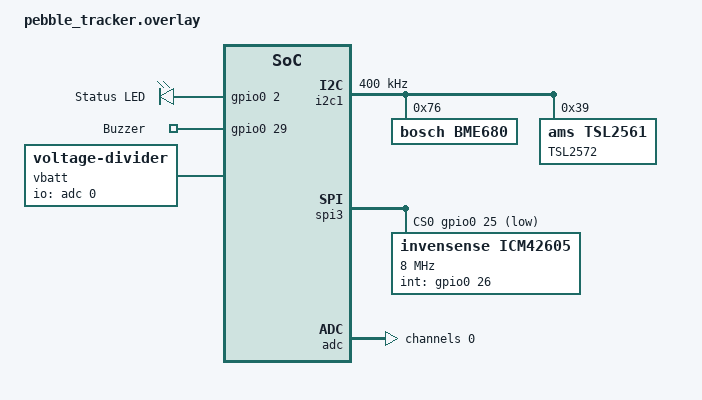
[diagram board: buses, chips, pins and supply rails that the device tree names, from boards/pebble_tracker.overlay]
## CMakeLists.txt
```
# SPDX-License-Identifier: Apache-2.0
#
# VAPI — Verified Autonomous Physical Intelligence
# Zephyr/nRF Connect SDK CMake Build Configuration
#
# Target: IoTeX Pebble Tracker (nRF9160, nRF Connect SDK v2.7+ / v3.x)
#
# Build:
#   west build -b nrf9160dk_nrf9160_ns firmware/
#   (Use Pebble-specific board overlay for production)
#
# Flash:
#   west flash
#   OR: nrfjprog --program build/zephyr/merged.hex --chiperase --verify
#

cmake_minimum_required(VERSION 3.20.0)

# Find Zephyr package (provided by nRF Connect SDK / west workspace)
find_package(Zephyr REQUIRED HINTS $ENV{ZEPHYR_BASE})

project(vapi_agent
    VERSION 0.2.0
    DESCRIPTION "Verified Autonomous Physical Intelligence — Pebble Tracker Agent"
    LANGUAGES C
)

# --------------------------------------------------------------------------
# Source files
# --------------------------------------------------------------------------

target_sources(app PRIVATE
    src/main.c
    src/poac.c
    src/perception.c
    src/agent.c
    src/economic.c
    src/tinyml.c
)

# --------------------------------------------------------------------------
# Include paths
# --------------------------------------------------------------------------

target_include_directories(app PRIVATE
    include
)

# --------------------------------------------------------------------------
# Edge Impulse TinyML integration (optional)
#
# To enable a trained Edge Impulse model:
#   1. Export as "C++ library" from Edge Impulse Studio
#   2. Unzip into models/edge_impulse/ (preserving directory structure)
#   3. Set CONFIG_VAPI_EDGE_IMPULSE=y in prj.conf
#   4. Rebuild: west build -p -- -DDTC_OVERLAY_FILE=...
#
# When disabled (default), the heuristic fallback in tinyml.c provides
# statistical motion classification from raw sensor thresholds.
# --------------------------------------------------------------------------

if(CONFIG_VAPI_EDGE_IMPULSE)
    set(EI_SDK_DIR ${CMAKE_CURRENT_SOURCE_DIR}/../models/edge_impulse)

    # Edge Impulse C++ library requires C++ support
    enable_language(CXX)

    # EI SDK core sources
    file(GLOB_RECURSE EI_SDK_SOURCES
        "${EI_SDK_DIR}/edge-impulse-sdk/classifier/*.cpp"
        "${EI_SDK_DIR}/edge-impulse-sdk/dsp/*.cpp"
        "${EI_SDK_DIR}/edge-impulse-sdk/tensorflow/lite/micro/*.cpp"
        "${EI_SDK_DIR}/edge-impulse-sdk/tensorflow/lite/micro/*.c"
        "${EI_SDK_DIR}/edge-impulse-sdk/tensorflow/lite/micro/kernels/*.cpp"
        "${EI_SDK_DIR}/edge-impulse-sdk/tensorflow/lite/core/*.cpp"
        "${EI_SDK_DIR}/edge-impulse-sdk/CMSIS/DSP/Source/TransformFunctions/*.c"
        "${EI_SDK_DIR}/edge-impulse-sdk/CMSIS/DSP/Source/CommonTables/*.c"
        "${EI_SDK_DIR}/edge-impulse-sdk/CMSIS/DSP/Source/BasicMathFunctions/*.c"
        "${EI_SDK_DIR}/edge-impulse-sdk/CMSIS/DSP/Source/StatisticsFunctions/*.c"
        "${EI_SDK_DIR}/edge-impulse-sdk/CMSIS/NN/Source/*.c"
    )

    # Trained model glue code (generated by EI Studio export)
    file(GLOB EI_MODEL_SOURCES
        "${EI_SDK_DIR}/tflite-model/*.cpp"
    )

    target_sources(app PRIVATE
        ${EI_SDK_SOURCES}
        ${EI_MODEL_SOURCES}
    )

    target_include_directories(app PRIVATE
        ${EI_SDK_DIR}
        ${EI_SDK_DIR}/edge-impulse-sdk
        ${EI_SDK_DIR}/edge-impulse-sdk/classifier
        ${EI_SDK_DIR}/edge-impulse-sdk/dsp
        ${EI_SDK_DIR}/edge-impulse-sdk/third_party
        ${EI_SDK_DIR}/edge-impulse-sdk/tensorflow
        ${EI_SDK_DIR}/edge-impulse-sdk/CMSIS/DSP/Include
        ${EI_SDK_DIR}/edge-impulse-sdk/CMSIS/NN/Include
        ${EI_SDK_DIR}/model-parameters
    )

    # EI SDK requires these defines
    target_compile_definitions(app PRIVATE
        EI_PORTING_ZEPHYR=1
        EI_CLASSIFIER_TFLITE_ENABLE_CMSIS_NN=1
        __ARM_FEATURE_DSP=1
    )

    # Suppress third-party warnings in EI SDK
    set_source_files_properties(${EI_SDK_SOURCES} ${EI_MODEL_SOURCES}
        PROPERTIES COMPILE_FLAGS "-w"
    )
endif()

# --------------------------------------------------------------------------
# Compiler options
# --------------------------------------------------------------------------

# Enable link-time optimization for smaller binary
target_compile_options(app PRIVATE
    -Os                    # Optimize for size
    -Wall                  # All warnings
    -Wextra                # Extra warnings
    -Wno-unused-parameter  # Agent callbacks often have unused params
)

# Float formatting support for LOG_INF with %f
# (Zephyr disables this by default to save space)
zephyr_compile_options(-u _printf_float)
```

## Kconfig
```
# SPDX-License-Identifier: Apache-2.0
#
# VAPI Agent — Custom Kconfig symbols

menu "VAPI Agent Configuration"

config VAPI_LOG_LEVEL
	int "Default VAPI module log level"
	default 4
	range 0 4
	help
	  Log level for VAPI modules (0=off, 1=err, 2=wrn, 3=inf, 4=dbg).

config VAPI_AGENT_LOG_LEVEL
	int "Agent module log level"
	default 3
	range 0 4
	help
	  Log level for the agent module (reflexive/deliberative/strategic threads).

config POAC_LOG_LEVEL
	int "PoAC module log level"
	default 3
	range 0 4
	help
	  Log level for the PoAC module (signing, chaining, NVS).

config VAPI_EDGE_IMPULSE
	bool "Enable Edge Impulse TinyML model"
	default n
	help
	  When enabled, the TinyML inference pipeline uses a trained Edge Impulse
	  model exported as a C++ library. The model files must be placed in
	  models/edge_impulse/ before building.

	  When disabled (default), a heuristic fallback classifier provides
	  statistical motion classification from raw IMU thresholds.

if VAPI_EDGE_IMPULSE
config CPLUSPLUS
	default y

config LIB_CPLUSPLUS
	default y

config NEWLIB_LIBC
	default y
endif # VAPI_EDGE_IMPULSE

endmenu

source "Kconfig.zephyr"
```

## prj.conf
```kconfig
# SPDX-License-Identifier: Apache-2.0
#
# VAPI Agent — Zephyr Project Configuration
# Target: IoTeX Pebble Tracker (nRF9160)
#
# This configures all kernel, driver, crypto, networking, and logging
# subsystems required for the VAPI autonomous agent.

# --------------------------------------------------------------------------
# General
# --------------------------------------------------------------------------
CONFIG_HEAP_MEM_POOL_SIZE=16384
CONFIG_MAIN_STACK_SIZE=4096
CONFIG_SYSTEM_WORKQUEUE_STACK_SIZE=2048
CONFIG_REBOOT=y
CONFIG_HWINFO=y

# --------------------------------------------------------------------------
# Logging
# --------------------------------------------------------------------------
CONFIG_LOG=y
CONFIG_LOG_DEFAULT_LEVEL=3
CONFIG_LOG_BACKEND_UART=y
CONFIG_LOG_BUFFER_SIZE=2048
# Custom log levels for VAPI modules
CONFIG_VAPI_LOG_LEVEL=4
CONFIG_VAPI_AGENT_LOG_LEVEL=3
CONFIG_POAC_LOG_LEVEL=3

# --------------------------------------------------------------------------
# Zephyr Kernel
# --------------------------------------------------------------------------
CONFIG_MULTITHREADING=y
CONFIG_NUM_PREEMPT_PRIORITIES=16
CONFIG_TIMESLICING=y
CONFIG_THREAD_NAME=y
CONFIG_THREAD_MONITOR=y

# --------------------------------------------------------------------------
# Non-Volatile Storage (for PoAC counter + chain state persistence)
# --------------------------------------------------------------------------
CONFIG_NVS=y
CONFIG_FLASH=y
CONFIG_FLASH_MAP=y
CONFIG_FLASH_PAGE_LAYOUT=y
CONFIG_MPU_ALLOW_FLASH_WRITE=y
CONFIG_SETTINGS=y
CONFIG_SETTINGS_NVS=y

# --------------------------------------------------------------------------
# Cryptography — PSA Crypto API backed by CryptoCell-310
# --------------------------------------------------------------------------
CONFIG_NRF_SECURITY=y
CONFIG_MBEDTLS_ENABLE_HEAP=y
CONFIG_MBEDTLS_HEAP_SIZE=8192
CONFIG_PSA_CRYPTO_DRIVER_CC3XX=y

# ECDSA P-256 (for PoAC signing)
CONFIG_PSA_WANT_ALG_ECDSA=y
CONFIG_PSA_WANT_ALG_SHA_256=y
CONFIG_PSA_WANT_KEY_TYPE_ECC_KEY_PAIR_GENERATE=y
CONFIG_PSA_WANT_KEY_TYPE_ECC_KEY_PAIR_IMPORT=y
CONFIG_PSA_WANT_KEY_TYPE_ECC_KEY_PAIR_EXPORT=y
CONFIG_PSA_WANT_KEY_TYPE_ECC_PUBLIC_KEY=y
CONFIG_PSA_WANT_ECC_SECP_R1_256=y

# Persistent key storage
CONFIG_PSA_ITS_ENCRYPTED=y

# --------------------------------------------------------------------------
# Sensors (I2C + SPI)
# --------------------------------------------------------------------------
CONFIG_SENSOR=y
CONFIG_I2C=y
CONFIG_SPI=y

# BME680 — Environmental (temp, humidity, pressure, VOC)
CONFIG_BME680=y

# ICM-42605 — 6-axis IMU (accel + gyro)
CONFIG_ICM42605=y
CONFIG_ICM42605_TRIGGER_NONE=y

# TSL2572 — Ambient light
# Note: Zephyr may require a custom driver or the tsl2561 compatible
CONFIG_TSL2561=y

# --------------------------------------------------------------------------
# GPS — nRF9160 GNSS interface
# --------------------------------------------------------------------------
CONFIG_NRF_MODEM_LIB=y
CONFIG_NRF_MODEM_LIB_ON_FAULT_APPLICATION_SPECIFIC=y
CONFIG_MODEM_INFO=y

# GNSS
CONFIG_NRF_CLOUD_AGNSS=y
CONFIG_NRF_CLOUD_PGPS=y

# --------------------------------------------------------------------------
# Cellular — LTE-M / NB-IoT
# --------------------------------------------------------------------------
CONFIG_LTE_LINK_CONTROL=y
CONFIG_LTE_NETWORK_MODE_LTE_M_GPS=y
CONFIG_LTE_AUTO_INIT_AND_CONNECT=n

# Power Saving Mode (PSM) — essential for battery life
CONFIG_LTE_PSM_REQ=y
CONFIG_LTE_PSM_REQ_RPTAU="00101000"
CONFIG_LTE_PSM_REQ_RAT="00000100"

# eDRX
CONFIG_LTE_EDRX_REQ=y

# --------------------------------------------------------------------------
# Networking (for MQTT/CoAP uplink)
# --------------------------------------------------------------------------
CONFIG_NETWORKING=y
CONFIG_NET_SOCKETS=y
CONFIG_NET_SOCKETS_POSIX_NAMES=y
CONFIG_NET_NATIVE=n

CONFIG_MQTT_LIB=y
CONFIG_MQTT_KEEPALIVE=300

# CoAP (for bounty feed)
CONFIG_COAP=y

# --------------------------------------------------------------------------
# GPIO (LED, Buzzer)
# --------------------------------------------------------------------------
CONFIG_GPIO=y

# --------------------------------------------------------------------------
# ADC (Battery voltage measurement)
# --------------------------------------------------------------------------
CONFIG_ADC=y

# --------------------------------------------------------------------------
# Floating point (for sensor math and economic calculations)
# --------------------------------------------------------------------------
CONFIG_FPU=y
CONFIG_CBPRINTF_FP_SUPPORT=y

# --------------------------------------------------------------------------
# TinyML / Edge Impulse (optional — set to y when a trained model is ready)
# --------------------------------------------------------------------------
# When n (default): heuristic fallback classifier runs from tinyml.c
# When y: Edge Impulse C++ library is compiled from models/edge_impulse/
CONFIG_VAPI_EDGE_IMPULSE=n

# C++ support required by Edge Impulse SDK (auto-enabled when EI is on)
CONFIG_CPLUSPLUS=n
CONFIG_LIB_CPLUSPLUS=n
CONFIG_NEWLIB_LIBC=n

# --------------------------------------------------------------------------
# Watchdog (safety net for autonomous operation)
# --------------------------------------------------------------------------
CONFIG_WATCHDOG=y
CONFIG_WDT_DISABLE_AT_BOOT=n
```

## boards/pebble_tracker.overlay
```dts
/*
 * SPDX-License-Identifier: Apache-2.0
 *
 * Device Tree Overlay for IoTeX Pebble Tracker
 *
 * Maps the Pebble's on-board peripherals to Zephyr sensor drivers.
 * Use with: west build -b nrf9160dk_nrf9160_ns -- -DDTC_OVERLAY_FILE=boards/nrf9160dk_nrf9160_ns.overlay
 *
 * Pebble Tracker hardware connections:
 *   I2C1: BME680 (0x76), TSL2572 (0x39)
 *   SPI3:  ICM-42605 (CS on P0.25)
 *   GPIO:  LED (P0.02), Buzzer (P0.29)
 *   ADC:   Battery voltage divider (AIN0)
 *
 * NOTE: Pin assignments are based on the Pebble Tracker schematic.
 * Verify against your specific hardware revision.
 */

/*
 * PoAC persistent storage partition.
 * Located at the end of application flash, before the MCUboot scratch area.
 * Must provide >= 2 x 4KB sectors for NVS.
 */
&flash0 {
	partitions {
		compatible = "fixed-partitions";
		#address-cells = <1>;
		#size-cells = <1>;

		poac_storage: partition@fc000 {
			label = "poac_storage";
			reg = <0xfc000 0x4000>; /* 16 KB = 4 sectors */
		};
	};
};

/ {
	aliases {
		led0 = &status_led;
		buzzer = &buzzer_out;
	};

	leds {
		compatible = "gpio-leds";
		status_led: led_0 {
			gpios = <&gpio0 2 GPIO_ACTIVE_HIGH>;
			label = "Status LED";
		};
	};

	outputs {
		compatible = "gpio-keys";
		buzzer_out: buzzer_0 {
			gpios = <&gpio0 29 GPIO_ACTIVE_HIGH>;
			label = "Buzzer";
		};
	};

	vbatt {
		compatible = "voltage-divider";
		io-channels = <&adc 0>;
		output-ohms = <100000>;   /* Bottom resistor */
		full-ohms   = <200000>;   /* Top + bottom resistors */
	};
};

&i2c1 {
	status = "okay";
	clock-frequency = <I2C_BITRATE_FAST>;

	/* Bosch BME680 — Environmental sensor */
	bme680: bme680@76 {
		compatible = "bosch,bme680";
		reg = <0x76>;
		label = "BME680";
	};

	/* AMS TSL2572 — Ambient light sensor */
	tsl2572: tsl2572@39 {
		compatible = "ams,tsl2561";  /* Use tsl2561 compatible driver */
		reg = <0x39>;
		label = "TSL2572";
	};
};

&spi3 {
	status = "okay";
	cs-gpios = <&gpio0 25 GPIO_ACTIVE_LOW>;

	/* TDK InvenSense ICM-42605 — 6-axis IMU */
	icm42605: icm42605@0 {
		compatible = "invensense,icm42605";
		reg = <0>;
		spi-max-frequency = <8000000>;
		label = "ICM42605";
		int-gpios = <&gpio0 26 GPIO_ACTIVE_HIGH>;
		accel-hz  = <100>;
		gyro-hz   = <100>;
	};
};

&adc {
	status = "okay";
	#address-cells = <1>;
	#size-cells = <0>;

	channel@0 {
		reg = <0>;
		zephyr,gain = "ADC_GAIN_1_6";
		zephyr,reference = "ADC_REF_INTERNAL";
		zephyr,acquisition-time = <ADC_ACQ_TIME_DEFAULT>;
		zephyr,input-positive = <NRF_SAADC_AIN0>;
		zephyr,resolution = <12>;
	};
};
```

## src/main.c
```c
/*
 * SPDX-License-Identifier: Apache-2.0
 *
 * VAPI — Verified Autonomous Physical Intelligence
 * Main Application Entry Point for IoTeX Pebble Tracker
 *
 * Initializes all subsystems and starts the autonomous agent.
 * Boot sequence:
 *   1. Initialize PSA Crypto (CryptoCell-310)
 *   2. Initialize PoAC module (key generation/load, counter restore)
 *   3. Initialize perception layer (sensor drivers, GPS)
 *   4. Initialize economic evaluator (bounty discovery)
 *   5. Attest the TinyML model (compute model manifest hash)
 *   6. Start the agent (generates BOOT PoAC, begins autonomous operation)
 */

#include <zephyr/kernel.h>
#include <zephyr/logging/log.h>
#include <zephyr/drivers/gpio.h>
#include <nrf_modem_lib.h>
#include <modem/lte_lc.h>

#include "poac.h"
#include "perception.h"
#include "agent.h"
#include "economic.h"
#include "tinyml.h"

LOG_MODULE_REGISTER(vapi_main, CONFIG_VAPI_LOG_LEVEL);

/* VAPI firmware version — update on each release */
#define VAPI_VERSION_MAJOR  0
#define VAPI_VERSION_MINOR  2
#define VAPI_VERSION_PATCH  0
#define VAPI_VERSION_STRING "0.2.0-rc1"

/* --------------------------------------------------------------------------
 * LED and buzzer output (Pebble Tracker GPIO)
 * -------------------------------------------------------------------------- */

/* LED node from devicetree — Pebble has a single status LED */
#define LED_NODE DT_ALIAS(led0)
#if DT_NODE_HAS_STATUS(LED_NODE, okay)
static const struct gpio_dt_spec led = GPIO_DT_SPEC_GET(LED_NODE, gpios);
#else
#error "LED device not found in devicetree"
#endif

static void led_blink(int count, int on_ms, int off_ms)
{
    for (int i = 0; i < count; i++) {
        gpio_pin_set_dt(&led, 1);
        k_msleep(on_ms);
        gpio_pin_set_dt(&led, 0);
        if (i < count - 1) {
            k_msleep(off_ms);
        }
    }
}

/* --------------------------------------------------------------------------
 * TinyML model stub
 *
 * In production, this would be an Edge Impulse or TFLite Micro model
 * loaded from flash. The model binary is hashed at boot for the PoAC
 * model_manifest_hash field.
 *
 * Placeholder: a static byte array representing model weights.
 * Replace with actual model binary linked via CMake.
 * -------------------------------------------------------------------------- */

/* Placeholder model weights — replace with actual Edge Impulse export */
static const uint8_t tinyml_model_weights[] = {
    /* This would be the quantized INT8 model binary (~40-80KB).
     * For the prototype, we use a small placeholder so the
     * attestation pipeline is exercised end-to-end. */
    0x56, 0x41, 0x50, 0x49,  /* "VAPI" magic */
    0x01, 0x00, 0x00, 0x00,  /* Version 1.0 */
    /* ... actual model weights would follow ... */
};

#define TINYML_MODEL_VERSION  1
#define TINYML_MODEL_ARCH_ID  "edge_impulse_activity_v1"

/* --------------------------------------------------------------------------
 * Cellular connectivity
 * -------------------------------------------------------------------------- */

static int cellular_init(void)
{
    LOG_INF("Initializing modem...");

    int err = nrf_modem_lib_init();
    if (err) {
        LOG_ERR("Modem library init failed: %d", err);
        return err;
    }

    LOG_INF("Connecting to LTE network...");
    err = lte_lc_init_and_connect();
    if (err) {
        LOG_ERR("LTE connect failed: %d", err);
        /* Non-fatal — agent can operate offline and buffer PoACs */
        return err;
    }

    LOG_INF("LTE connected");
    return 0;
}

/* --------------------------------------------------------------------------
 * PoAC uplink callback
 *
 * Called by the agent every time a new PoAC record is generated.
 * Buffers records and transmits them over cellular when connectivity
 * is available.
 * -------------------------------------------------------------------------- */

#define POAC_UPLINK_QUEUE_SIZE  16

static poac_record_t uplink_queue[POAC_UPLINK_QUEUE_SIZE];
static uint8_t uplink_head;
static uint8_t uplink_count;
static K_MUTEX_DEFINE(uplink_mutex);

static void on_poac_generated(const poac_record_t *record)
{
    k_mutex_lock(&uplink_mutex, K_FOREVER);

    if (uplink_count < POAC_UPLINK_QUEUE_SIZE) {
        uplink_queue[uplink_head] = *record;
        uplink_head = (uplink_head + 1) % POAC_UPLINK_QUEUE_SIZE;
        uplink_count++;
        LOG_DBG("PoAC #%u queued for uplink (%u buffered)",
                record->monotonic_ctr, uplink_count);
    } else {
        LOG_WRN("Uplink queue full — dropping PoAC #%u", record->monotonic_ctr);
    }

    k_mutex_unlock(&uplink_mutex);
}

/* --------------------------------------------------------------------------
 * Agent state change callback
 * -------------------------------------------------------------------------- */

static void on_state_change(agent_state_t old_state, agent_state_t new_state)
{
    LOG_INF("Agent state: %d -> %d", old_state, new_state);

    /* Visual feedback via LED */
    switch (new_state) {
    case AGENT_STATE_BOOT:
        led_blink(1, 500, 0);
        break;
    case AGENT_STATE_IDLE:
        led_blink(2, 100, 100);
        break;
    case AGENT_STATE_ALERT:
        led_blink(5, 50, 50);  /* Rapid flash for alert */
        break;
    case AGENT_STATE_PSM:
        gpio_pin_set_dt(&led, 0); /* LED off in power save */
        break;
    default:
        break;
    }
}

/* --------------------------------------------------------------------------
 * Main
 * -------------------------------------------------------------------------- */

int main(void)
{
    int err;

    LOG_INF("=== VAPI: Verified Autonomous Physical Intelligence ===");
    LOG_INF("Firmware v" VAPI_VERSION_STRING " built: " __DATE__ " " __TIME__);

    /* 1. Initialize LED */
    if (!gpio_is_ready_dt(&led)) {
        LOG_ERR("LED device not ready");
        return -ENODEV;
    }
    gpio_pin_configure_dt(&led, GPIO_OUTPUT_INACTIVE);
    led_blink(3, 200, 100); /* Boot indicator: 3 quick flashes */

    /* 2. Initialize PoAC subsystem (PSA Crypto + key management) */
    LOG_INF("Initializing PoAC subsystem...");
    err = poac_init();
    if (err) {
        LOG_ERR("PoAC init failed: %d", err);
        return err;
    }

    /* Log device public key for on-chain registration */
    uint8_t pubkey[65];
    size_t pubkey_len;
    err = poac_get_device_pubkey(pubkey, &pubkey_len);
    if (err == 0) {
        LOG_INF("Device public key (first 8 bytes): "
                "%02x%02x%02x%02x%02x%02x%02x%02x...",
                pubkey[0], pubkey[1], pubkey[2], pubkey[3],
                pubkey[4], pubkey[5], pubkey[6], pubkey[7]);
    }

    /* 3. Attest the TinyML model */
    LOG_INF("Attesting TinyML model...");
    err = poac_attest_model(tinyml_model_weights, sizeof(tinyml_model_weights),
                            TINYML_MODEL_VERSION,
                            TINYML_MODEL_ARCH_ID, strlen(TINYML_MODEL_ARCH_ID));
    if (err) {
        LOG_ERR("Model attestation failed: %d", err);
        return err;
    }

    /* 4. Initialize TinyML inference engine */
    LOG_INF("Initializing TinyML engine...");
    err = tinyml_init();
    if (err) {
        LOG_WRN("TinyML init failed: %d (heuristic fallback active)", err);
    }

    /* 5. Initialize perception layer (sensors) */
    LOG_INF("Initializing sensors...");
    err = perception_init();
    if (err) {
        LOG_WRN("Perception init partial failure: %d (continuing)", err);
        /* Non-fatal — agent adapts to available sensors */
    }

    /* 6. Start GPS tracking */
    perception_gps_start();

    /* 7. Initialize cellular connectivity */
    err = cellular_init();
    if (err) {
        LOG_WRN("Cellular not available: %d (agent will buffer PoACs)", err);
    }

    /* 8. Initialize economic evaluator */
    err = economic_init(NULL); /* No CoAP endpoint yet — manual bounty injection */
    if (err) {
        LOG_WRN("Economic init failed: %d", err);
    }

    /* 9. Configure and start the agent */
    agent_config_t config = {
        .sense_interval_ms      = 30000,    /* 30 seconds */
        .anomaly_threshold      = 200,      /* ~78% confidence */
        .deliberate_interval_ms = 300000,   /* 5 minutes */
        .battery_critical_pct   = 10,
        .battery_low_pct        = 25,
        .cloud_sync_interval_ms = 3600000,  /* 1 hour */
        .cloud_enabled          = false,    /* Disabled until endpoint configured */
        .bounty_enabled         = true,
        .min_battery_for_bounty = 15,
    };

    LOG_INF("Starting VAPI agent...");
    err = agent_init(&config);
    if (err) {
        LOG_ERR("Agent init failed: %d", err);
        return err;
    }

    /* Register callbacks */
    agent_register_poac_callback(on_poac_generated);
    agent_register_state_callback(on_state_change);

    /* Launch! */
    err = agent_start();
    if (err) {
        LOG_ERR("Agent start failed: %d", err);
        return err;
    }

    LOG_INF("=== VAPI agent is now autonomous ===");
    LOG_INF("PoAC counter: %u", poac_get_counter());

    /*
     * Main thread now handles uplink duty.
     * Periodically flushes the PoAC uplink queue over cellular.
     */
    while (true) {
        k_sleep(K_SECONDS(60));

        /* Flush uplink queue */
        k_mutex_lock(&uplink_mutex, K_FOREVER);
        uint8_t to_send = uplink_count;
        k_mutex_unlock(&uplink_mutex);

        if (to_send > 0) {
            LOG_INF("Uplink: %u PoAC records pending", to_send);
            /*
             * TODO: Serialize records and send via MQTT/CoAP to
             * IoTeX W3bstream or the PoACVerifier contract bridge.
             *
             * For each record:
             *   1. Serialize to ~170 byte buffer
             *   2. Send via MQTT publish to "vapi/{device_id}/poac"
             *   3. On ACK, remove from queue
             */
        }

        /* Periodic status log */
        economic_stats_t econ_stats;
        economic_get_stats(&econ_stats);
        LOG_INF("Status: state=%d, counter=%u, bounties=%u/%u, reward=%u uIOTX",
                agent_get_state(), poac_get_counter(),
                econ_stats.bounties_completed, econ_stats.bounties_evaluated,
                econ_stats.total_reward_micro);
    }

    return 0;
}
```

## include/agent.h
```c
/*
 * SPDX-License-Identifier: Apache-2.0
 *
 * VAPI Agent Core — Three-Layer Autonomous Agent Architecture
 *
 * Layer 1 (Reflexive):   Real-time sensor → TinyML → immediate action (<100ms)
 * Layer 2 (Deliberative): Periodic goal evaluation, planning, battery mgmt (30s-5min)
 * Layer 3 (Strategic):    Async cloud sync for long-horizon planning (1-6 hours)
 *
 * Each layer runs as a separate Zephyr thread. All decisions produce PoAC records.
 *
 * Target: IoTeX Pebble Tracker (nRF9160, Zephyr RTOS)
 */

#ifndef AGENT_H
#define AGENT_H

#include <stdint.h>
#include <stdbool.h>
#include <zephyr/kernel.h>
#include "perception.h"
#include "poac.h"

#ifdef __cplusplus
extern "C" {
#endif

/* Agent state machine states */
typedef enum {
    AGENT_STATE_BOOT,          /* Initializing, self-test */
    AGENT_STATE_IDLE,          /* Nominal sensing, low duty cycle */
    AGENT_STATE_ACTIVE,        /* Active monitoring (bounty in progress) */
    AGENT_STATE_ALERT,         /* Anomaly detected, high-frequency sensing */
    AGENT_STATE_PSM,           /* Power save mode (deep sleep between cycles) */
    AGENT_STATE_OTA,           /* Receiving over-the-air update */
    AGENT_STATE_SWARM_SYNC,    /* Swarm coordination active */
} agent_state_t;

/* Agent configuration — tunable at runtime */
typedef struct {
    /* Layer 1: Reflexive */
    uint32_t sense_interval_ms;     /* Base sensing interval (default: 30000) */
    uint8_t  anomaly_threshold;     /* Confidence threshold for anomaly alert [0-255] */

    /* Layer 2: Deliberative */
    uint32_t deliberate_interval_ms; /* Goal evaluation period (default: 300000 = 5min) */
    uint8_t  battery_critical_pct;   /* Below this → force PSM (default: 10) */
    uint8_t  battery_low_pct;        /* Below this → reduce sensing (default: 25) */

    /* Layer 3: Strategic */
    uint32_t cloud_sync_interval_ms; /* Cloud upload period (default: 3600000 = 1hr) */
    char     cloud_endpoint[128];    /* CoAP/MQTT endpoint for strategic sync */
    bool     cloud_enabled;          /* Enable/disable cloud sync */

    /* Economic */
    bool     bounty_enabled;         /* Enable autonomous bounty evaluation */
    uint8_t  min_battery_for_bounty; /* Don't accept bounties below this % */
} agent_config_t;

/**
 * Compressed world model — recent observation history for deliberation.
 *
 * Circular buffer of summarized observations (~2 KB total).
 * Used by Layer 2 for temporal reasoning (trend detection, baseline comparison).
 */
#define WORLD_MODEL_HISTORY_SIZE  32  /* Number of observation summaries kept */

typedef struct {
    float    avg_temp;
    float    avg_voc;
    float    avg_lux;
    float    motion_magnitude;  /* RMS of accel vector */
    double   lat, lon;
    uint8_t  battery_pct;
    int64_t  timestamp_ms;
} observation_summary_t;

typedef struct {
    observation_summary_t history[WORLD_MODEL_HISTORY_SIZE];
    uint8_t  head;            /* Circular buffer write index */
    uint8_t  count;           /* Number of valid entries */
    float    voc_baseline;    /* Running VOC baseline for anomaly detection */
    float    temp_baseline;   /* Running temperature baseline */
    uint32_t total_cycles;    /* Total agent cycles since boot */
} world_model_t;

/**
 * Initialize the agent subsystem.
 *
 * Starts all three layer threads with default configuration.
 * Must be called after poac_init() and perception_init().
 *
 * @param config  Agent configuration. NULL for defaults.
 * @return 0 on success, negative errno on failure.
 */
int agent_init(const agent_config_t *config);

/**
 * Start the agent (begins autonomous operation).
 *
 * Generates a BOOT PoAC record and transitions to IDLE state.
 */
int agent_start(void);

/**
 * Stop the agent gracefully.
 *
 * Persists state (PoAC chain, world model, counter) and stops threads.
 */
int agent_stop(void);

/**
 * Get current agent state.
 */
agent_state_t agent_get_state(void);

/**
 * Get a copy of the current world model (for diagnostics / cloud sync).
 */
int agent_get_world_model(world_model_t *out);

/**
 * Update agent configuration at runtime.
 *
 * Thread-safe. Takes effect on the next cycle of each layer.
 */
int agent_set_config(const agent_config_t *config);

/**
 * Force a cloud sync (Layer 3) immediately.
 *
 * Useful when the user triggers a manual upload via button/app.
 */
int agent_force_cloud_sync(void);

/**
 * Register a callback for agent state changes.
 *
 * @param cb  Callback function (called from agent thread context).
 */
typedef void (*agent_state_cb_t)(agent_state_t old_state, agent_state_t new_state);
void agent_register_state_callback(agent_state_cb_t cb);

/**
 * Register a callback for completed PoAC records.
 *
 * Called after each record is generated and signed. Use this to
 * buffer records for cellular uplink.
 *
 * @param cb  Callback function.
 */
typedef void (*agent_poac_cb_t)(const poac_record_t *record);
void agent_register_poac_callback(agent_poac_cb_t cb);

#ifdef __cplusplus
}
#endif

#endif /* AGENT_H */
```

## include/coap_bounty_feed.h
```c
/*
 * SPDX-License-Identifier: Apache-2.0
 *
 * CoAP Bounty Feed — Zephyr CoAP Client for Bounty Discovery
 *
 * Subscribes to the IoTeX bounty feed via CoAP OBSERVE on /bounties/active.
 * Parses CBOR-encoded bounty descriptors and injects them into the
 * economic evaluator for autonomous cost-benefit assessment.
 *
 * Wire protocol:
 *   CoAP OBSERVE GET coap://[endpoint]/bounties/active
 *   Response payload: CBOR array of bounty_descriptor_t
 *
 * Reliability:
 *   - CON messages with Zephyr's built-in retransmit
 *   - Re-OBSERVE on timeout or RST
 *   - Rate limiting: max 1 bounty evaluation per 10 seconds
 *   - Thread: 2KB stack, priority 12 (below agent threads)
 *
 * Target: nRF9160 (Zephyr RTOS, nRF Connect SDK v2.7+)
 */

#ifndef COAP_BOUNTY_FEED_H
#define COAP_BOUNTY_FEED_H

#include <stdint.h>
#include <stdbool.h>

#ifdef __cplusplus
extern "C" {
#endif

/* ──────────────────────────────────────────────────────────────────
 * Constants
 * ────────────────────────────────────────────────────────────────── */

/** CoAP default port. */
#define COAP_BOUNTY_PORT          5683

/** Maximum CBOR payload size for bounty feed response. */
#define COAP_BOUNTY_MAX_PAYLOAD   1024

/** Rate limit: minimum seconds between bounty evaluations. */
#define COAP_BOUNTY_RATE_LIMIT_S  10

/** Thread stack size in bytes. */
#define COAP_BOUNTY_STACK_SIZE    2048

/** Thread priority (lower number = higher priority). */
#define COAP_BOUNTY_THREAD_PRIO   12

/** OBSERVE re-registration interval in seconds (if no notifications). */
#define COAP_BOUNTY_OBSERVE_TIMEOUT_S  300

/** Maximum consecutive failures before exponential backoff. */
#define COAP_BOUNTY_MAX_FAILURES  5

/* ──────────────────────────────────────────────────────────────────
 * Feed State
 * ────────────────────────────────────────────────────────────────── */

typedef enum {
    COAP_FEED_IDLE,          /**< Not started */
    COAP_FEED_RESOLVING,     /**< DNS resolution in progress */
    COAP_FEED_OBSERVING,     /**< OBSERVE subscription active */
    COAP_FEED_BACKOFF,       /**< Waiting after failure */
    COAP_FEED_STOPPED,       /**< Explicitly stopped */
} coap_feed_state_t;

/* ──────────────────────────────────────────────────────────────────
 * Feed Statistics
 * ────────────────────────────────────────────────────────────────── */

typedef struct {
    uint32_t notifications_received;  /**< Total OBSERVE notifications */
    uint32_t bounties_parsed;         /**< Successfully parsed bounty descriptors */
    uint32_t bounties_injected;       /**< Injected into economic evaluator */
    uint32_t parse_errors;            /**< CBOR parse failures */
    uint32_t connection_failures;     /**< Socket/CoAP failures */
    uint32_t rate_limited;            /**< Bounties skipped due to rate limit */
} coap_feed_stats_t;

/* ──────────────────────────────────────────────────────────────────
 * Public API
 * ────────────────────────────────────────────────────────────────── */

/**
 * Start the CoAP bounty feed observation thread.
 *
 * Spawns a dedicated Zephyr thread that connects to the specified
 * CoAP endpoint, registers an OBSERVE on /bounties/active, and
 * parses incoming CBOR bounty descriptors.
 *
 * @param endpoint  CoAP endpoint URI (e.g., "coap://bounty.iotex.io").
 *                  Must remain valid for the lifetime of the thread.
 * @return 0 on success, negative errno on failure.
 */
int coap_bounty_feed_start(const char *endpoint);

/**
 * Stop the CoAP bounty feed thread.
 *
 * Deregisters the OBSERVE, closes the socket, and terminates
 * the thread. Safe to call even if not started.
 */
void coap_bounty_feed_stop(void);

/**
 * Get current feed state.
 */
coap_feed_state_t coap_bounty_feed_get_state(void);

/**
 * Get feed statistics.
 */
void coap_bounty_feed_get_stats(coap_feed_stats_t *out);

#ifdef __cplusplus
}
#endif

#endif /* COAP_BOUNTY_FEED_H */
```

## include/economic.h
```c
/*
 * SPDX-License-Identifier: Apache-2.0
 *
 * Economic Evaluator — Autonomous Bounty Assessment and Battery Economics
 *
 * Implements the Economic Layer of the VAPI Economic Personhood Stack:
 *   - Discovers active bounties via CoAP subscription
 *   - Evaluates utility: P(success) * reward - energy_cost - opportunity_cost
 *   - Makes accept/decline decisions under physical constraints
 *   - Tracks active commitments and generates economic PoAC records
 *
 * Every economic decision (accept, decline, claim) produces a PoAC record,
 * ensuring full auditability of the agent's financial reasoning.
 *
 * Target: IoTeX Pebble Tracker (nRF9160, Zephyr RTOS)
 */

#ifndef ECONOMIC_H
#define ECONOMIC_H

#include <stdint.h>
#include <stdbool.h>
#include <zephyr/kernel.h>
#include "perception.h"
#include "poac.h"

#ifdef __cplusplus
extern "C" {
#endif

/* Maximum bounties tracked simultaneously */
#define ECON_MAX_ACTIVE_BOUNTIES  4

/* Maximum bounties in discovery queue */
#define ECON_MAX_DISCOVERED       8

/* Bounty status */
typedef enum {
    BOUNTY_STATUS_DISCOVERED,   /* Seen on-chain, not yet evaluated */
    BOUNTY_STATUS_EVALUATING,   /* Cost-benefit analysis in progress */
    BOUNTY_STATUS_ACCEPTED,     /* Agent committed to this bounty */
    BOUNTY_STATUS_FULFILLING,   /* Actively collecting data for it */
    BOUNTY_STATUS_CLAIMING,     /* Submitting proof for reward */
    BOUNTY_STATUS_DECLINED,     /* Rejected (cost > benefit) */
    BOUNTY_STATUS_COMPLETED,    /* Reward received */
    BOUNTY_STATUS_EXPIRED,      /* Deadline passed */
} bounty_status_t;

/* Sensor requirement flags (bitfield) */
#define BOUNTY_REQUIRES_VOC       (1 << 0)
#define BOUNTY_REQUIRES_TEMP      (1 << 1)
#define BOUNTY_REQUIRES_HUMIDITY  (1 << 2)
#define BOUNTY_REQUIRES_PRESSURE  (1 << 3)
#define BOUNTY_REQUIRES_MOTION    (1 << 4)
#define BOUNTY_REQUIRES_LIGHT     (1 << 5)
#define BOUNTY_REQUIRES_GPS       (1 << 6)

/**
 * On-chain bounty descriptor.
 *
 * Parsed from CoAP/MQTT bounty feed originating from IoTeX smart contract events.
 */
typedef struct {
    uint32_t bounty_id;              /* On-chain bounty identifier */
    uint32_t reward_iotx_micro;      /* Reward in micro-IOTX (1 IOTX = 1,000,000) */
    uint16_t sensor_requirements;    /* Bitfield of BOUNTY_REQUIRES_* flags */
    uint16_t min_samples;            /* Minimum PoAC submissions required */
    uint32_t sample_interval_s;      /* Required sampling interval in seconds */
    uint32_t duration_s;             /* Bounty duration from acceptance */
    int64_t  deadline_ms;            /* Absolute deadline (Unix ms) */

    /* Geographic zone (simple bounding box) */
    double   zone_lat_min;
    double   zone_lat_max;
    double   zone_lon_min;
    double   zone_lon_max;

    /* Threshold triggers (0 = no threshold) */
    float    voc_threshold;          /* VOC resistance below this = event */
    float    temp_threshold_hi;      /* Temperature above this = event */
    float    temp_threshold_lo;      /* Temperature below this = event */
} bounty_descriptor_t;

/**
 * Cost-benefit evaluation result.
 *
 * Produced by the utility function and recorded in PoAC for auditability.
 */
typedef struct {
    uint32_t bounty_id;
    float    p_success;              /* Probability of successful fulfillment [0,1] */
    float    reward_value;           /* Expected reward (p_success * reward) */
    float    energy_cost;            /* Estimated battery drain [0,100] percentage points */
    float    opportunity_cost;       /* Value of displaced alternative actions */
    float    net_utility;            /* reward_value - energy_cost - opportunity_cost */
    bool     accepted;               /* Decision: accept or decline */
    uint8_t  decline_reason;         /* 0=accepted, 1=low battery, 2=wrong zone,
                                        3=missing sensor, 4=negative utility,
                                        5=at capacity */
} evaluation_result_t;

/**
 * Active bounty tracking entry.
 */
typedef struct {
    bounty_descriptor_t desc;
    bounty_status_t     status;
    evaluation_result_t eval;
    uint16_t            samples_submitted;  /* PoACs submitted so far */
    int64_t             accepted_at_ms;     /* When the agent accepted */
    int64_t             last_sample_ms;     /* Last PoAC submission time */
} active_bounty_t;

/**
 * Energy profile for the device — calibrated at boot.
 *
 * Used to estimate battery cost of bounty fulfillment.
 */
typedef struct {
    float mah_per_sensor_read;    /* mAh consumed per full sensor capture */
    float mah_per_cellular_tx;    /* mAh consumed per NB-IoT uplink */
    float mah_per_gps_fix;        /* mAh consumed per GPS acquisition */
    float mah_per_crypto_op;      /* mAh consumed per PoAC sign operation */
    float battery_capacity_mah;   /* Total battery capacity */
    float mah_per_pct;            /* Derived: capacity / 100 */
} energy_profile_t;

/**
 * Initialize the economic evaluator.
 *
 * Starts the bounty discovery CoAP subscription thread and
 * loads energy profile from device calibration data.
 *
 * @param coap_endpoint  Bounty feed endpoint (e.g., "coap://bounty.iotex.io/feed").
 *                       NULL to disable network discovery (manual bounties only).
 * @return 0 on success, negative errno on failure.
 */
int economic_init(const char *coap_endpoint);

/**
 * Evaluate a bounty against current device state.
 *
 * Computes the full utility function and returns the decision.
 * Generates a PoAC record (BOUNTY_ACCEPT or BOUNTY_DECLINE).
 *
 * @param bounty       Bounty descriptor to evaluate.
 * @param current      Current perception snapshot (for location/battery check).
 * @param out_result   Output evaluation result.
 * @return 0 on success, negative errno on failure.
 */
int economic_evaluate_bounty(const bounty_descriptor_t *bounty,
                             const perception_t *current,
                             evaluation_result_t *out_result);

/**
 * Get the list of currently active (accepted) bounties.
 *
 * @param out_bounties  Output array.
 * @param max_count     Size of output array.
 * @param out_count     Number of active bounties written.
 * @return 0 on success.
 */
int economic_get_active_bounties(active_bounty_t *out_bounties,
                                 size_t max_count, size_t *out_count);

/**
 * Submit a PoAC record as bounty fulfillment evidence.
 *
 * Links the PoAC to the active bounty and increments the submission counter.
 * If min_samples is reached, triggers a claim transaction.
 *
 * @param bounty_id  The bounty this PoAC fulfills.
 * @param record     The signed PoAC record.
 * @return 0 on success, -ENOENT if bounty not active, -ETIME if expired.
 */
int economic_submit_evidence(uint32_t bounty_id, const poac_record_t *record);

/**
 * Get cumulative economic statistics.
 */
typedef struct {
    uint32_t bounties_evaluated;
    uint32_t bounties_accepted;
    uint32_t bounties_declined;
    uint32_t bounties_completed;
    uint32_t total_reward_micro;     /* Cumulative micro-IOTX earned */
    float    total_energy_spent_pct; /* Cumulative battery % spent on bounties */
    float    roi;                    /* Return on energy investment */
} economic_stats_t;

int economic_get_stats(economic_stats_t *out);

/**
 * Manually inject a bounty for evaluation (e.g., from app or debug).
 *
 * Bypasses the CoAP discovery feed.
 */
int economic_inject_bounty(const bounty_descriptor_t *bounty);

/**
 * Compute survival horizon: estimated hours until battery critical.
 *
 * Uses energy profile and current consumption pattern.
 *
 * @param current_battery_pct  Current battery level.
 * @param critical_pct         Critical threshold.
 * @return Estimated hours remaining, or -1 on error.
 */
float economic_survival_horizon(uint8_t current_battery_pct,
                                uint8_t critical_pct);

/**
 * Optimally allocate battery budget across discovered bounties.
 *
 * Uses a greedy knapsack approximation: sorts candidates by utility density
 * (net_utility / energy_cost), selects greedily under the available battery
 * budget. Handles preemption of low-value active bounties when higher-value
 * candidates are available.
 *
 * O(n log n) time, O(n) stack space where n <= ECON_MAX_DISCOVERED.
 * No heap allocation.
 *
 * @param current     Current perception snapshot (for location/battery).
 * @param budget_pct  Available battery budget for bounties (e.g., battery_pct - critical_threshold).
 * @param out_accepted  Output array of accepted bounty IDs (caller allocates, max ECON_MAX_ACTIVE_BOUNTIES).
 * @param out_count     Output: number of bounties accepted.
 * @return 0 on success, negative errno on failure.
 */
int economic_optimize_bounties(const perception_t *current,
                               float budget_pct,
                               uint32_t *out_accepted,
                               size_t *out_count);

#ifdef __cplusplus
}
#endif

#endif /* ECONOMIC_H */
```

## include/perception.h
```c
/*
 * SPDX-License-Identifier: Apache-2.0
 *
 * Perception Layer — Unified Sensor Abstraction for VAPI Agent
 *
 * Provides a single interface to all Pebble Tracker sensors:
 *   - BME680:    Temperature, humidity, pressure, VOC gas resistance
 *   - ICM-42605: 6-axis IMU (accelerometer + gyroscope)
 *   - TSL2572:   Ambient light (lux)
 *   - GPS:       Position (lat/lon), fix quality, satellite count
 *
 * Sensor data is collected into a perception_t struct, then serialized
 * to a deterministic byte buffer for PoAC commitment (SHA-256 hash).
 *
 * Target: IoTeX Pebble Tracker (nRF9160, Zephyr RTOS)
 */

#ifndef PERCEPTION_H
#define PERCEPTION_H

#include <stdint.h>
#include <stdbool.h>
#include <zephyr/kernel.h>

#ifdef __cplusplus
extern "C" {
#endif

/* Maximum serialized perception buffer size (for PoAC hashing) */
#define PERCEPTION_SERIAL_MAX_SIZE  128

/* GPS fix quality indicators */
#define GPS_FIX_NONE       0
#define GPS_FIX_2D         1
#define GPS_FIX_3D         2

/**
 * Environmental sensor readings (BME680).
 */
typedef struct {
    float temperature_c;      /* Celsius, +-1.0 accuracy */
    float humidity_pct;       /* Relative humidity 0-100% */
    float pressure_hpa;       /* Hectopascals (mbar) */
    float voc_resistance_ohm; /* Gas resistance — higher = cleaner air */
} env_data_t;

/**
 * Inertial measurement readings (ICM-42605).
 */
typedef struct {
    float accel_x_g;   /* Acceleration in g, X-axis */
    float accel_y_g;   /* Acceleration in g, Y-axis */
    float accel_z_g;   /* Acceleration in g, Z-axis */
    float gyro_x_dps;  /* Rotation in degrees/sec, X-axis */
    float gyro_y_dps;  /* Rotation in degrees/sec, Y-axis */
    float gyro_z_dps;  /* Rotation in degrees/sec, Z-axis */
} imu_data_t;

/**
 * Light sensor reading (TSL2572).
 */
typedef struct {
    uint32_t lux;       /* Ambient light in lux */
    uint16_t raw_ch0;   /* Visible + IR channel */
    uint16_t raw_ch1;   /* IR-only channel */
} light_data_t;

/**
 * GPS position data.
 */
typedef struct {
    double   latitude;       /* WGS84 degrees, + = North */
    double   longitude;      /* WGS84 degrees, + = East */
    float    altitude_m;     /* Meters above sea level */
    float    speed_mps;      /* Meters per second */
    float    hdop;           /* Horizontal dilution of precision */
    uint8_t  fix_quality;    /* GPS_FIX_NONE / 2D / 3D */
    uint8_t  satellites;     /* Number of satellites in view */
    int64_t  fix_timestamp;  /* Unix ms of last valid fix */
} gps_data_t;

/**
 * Complete perception snapshot — all sensors at one point in time.
 */
typedef struct {
    env_data_t   env;
    imu_data_t   imu;
    light_data_t light;
    gps_data_t   gps;
    uint8_t      battery_pct;    /* System battery level 0-100 */
    int64_t      timestamp_ms;   /* Capture time (GPS-synced or RTC) */
    bool         gps_valid;      /* True if GPS has a fix */
} perception_t;

/**
 * Initialize all sensor peripherals.
 *
 * Configures I2C/SPI buses, sets sensor sampling rates, and performs
 * self-tests. Must be called once at boot.
 *
 * @return 0 on success, negative errno if any sensor fails init.
 */
int perception_init(void);

/**
 * Capture a full sensor snapshot.
 *
 * Reads all sensors synchronously (blocking, ~50 ms worst case with GPS).
 * If GPS has no fix, gps_valid is set false and gps fields are zeroed.
 *
 * @param out  Output perception struct.
 * @return 0 on success, negative errno on sensor read failure.
 *         Partial data is still written (failing sensor fields zeroed).
 */
int perception_capture(perception_t *out);

/**
 * Serialize perception data to a deterministic byte buffer.
 *
 * Used for PoAC sensor commitment: hash this buffer to produce the
 * sensor_commitment field. Serialization is big-endian, IEEE 754 doubles,
 * fields in struct declaration order.
 *
 * @param p        Perception data to serialize.
 * @param buf      Output buffer.
 * @param buf_len  Size of output buffer (>= PERCEPTION_SERIAL_MAX_SIZE).
 * @param out_len  Actual bytes written.
 * @return 0 on success, -ENOBUFS if buffer too small.
 */
int perception_serialize(const perception_t *p,
                         uint8_t *buf, size_t buf_len, size_t *out_len);

/**
 * Get human-readable summary for debug logging.
 *
 * @param p    Perception data.
 * @param buf  Output string buffer.
 * @param len  Buffer length.
 * @return Number of characters written.
 */
int perception_to_string(const perception_t *p, char *buf, size_t len);

/**
 * Start continuous background GPS tracking.
 *
 * GPS acquisition is slow (~30s cold start). This starts it in a
 * background thread so perception_capture() can read cached fixes.
 *
 * @return 0 on success.
 */
int perception_gps_start(void);

/**
 * Stop GPS to save power (e.g., before PSM).
 */
void perception_gps_stop(void);

/**
 * Read battery voltage and convert to percentage.
 *
 * Uses nRF9160 ADC on the battery divider.
 *
 * @return Battery percentage 0-100, or -1 on read failure.
 */
int perception_read_battery(void);

#ifdef __cplusplus
}
#endif

#endif /* PERCEPTION_H */
```
